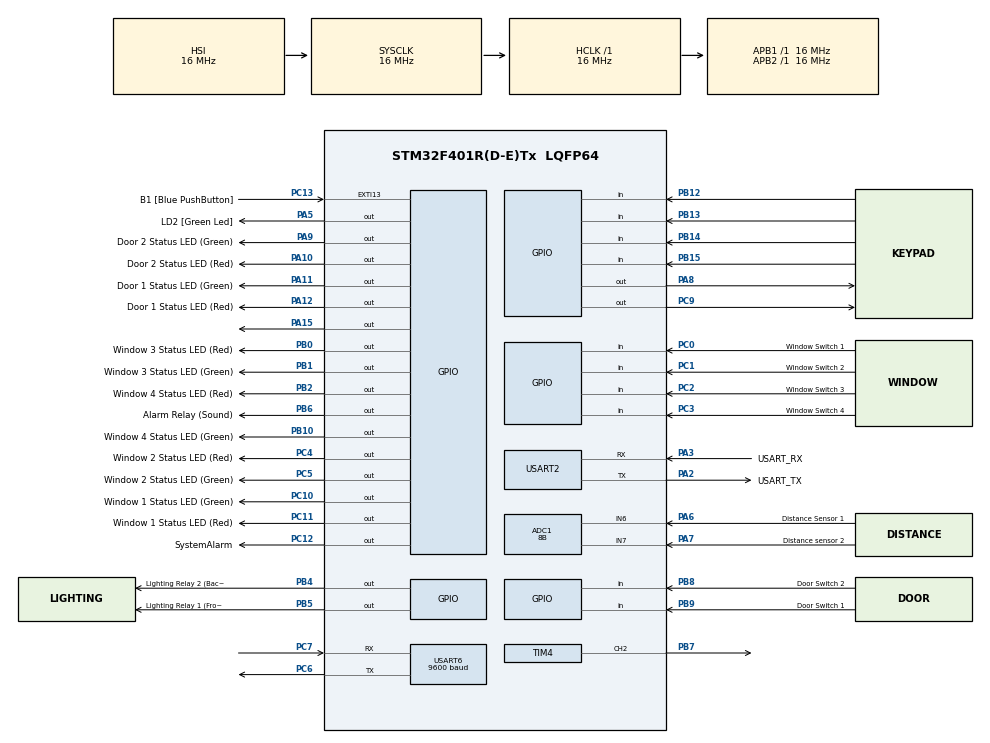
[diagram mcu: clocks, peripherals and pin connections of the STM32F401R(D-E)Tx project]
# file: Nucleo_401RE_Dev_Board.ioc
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ADC1.Channel-4\#ChannelRegularConversion=ADC_CHANNEL_6
ADC1.ClockPrescaler=ADC_CLOCK_SYNC_PCLK_DIV8
ADC1.NbrOfConversionFlag=1
ADC1.Rank-4\#ChannelRegularConversion=1
ADC1.Resolution=ADC_RESOLUTION_8B
ADC1.SamplingTime-4\#ChannelRegularConversion=ADC_SAMPLETIME_28CYCLES
ADC1.master=1
Mcu.Family=STM32F4
Mcu.Name=STM32F401R(D-E)Tx
Mcu.Package=LQFP64
NVIC.PriorityGroup=NVIC_PRIORITYGROUP_0
NVIC.TIM1_UP_TIM10_IRQn=true\:0\:0\:false\:false\:true\:true\:true
NVIC.USART6_IRQn=true\:0\:0\:false\:false\:true\:true\:true
PA10.GPIO_Label=Door 2 Status LED (Red)
PA10.Signal=GPIO_Output
PA11.GPIO_Label=Door 1 Status LED (Green)
PA11.Signal=GPIO_Output
PA12.GPIO_Label=Door 1 Status LED (Red)
PA12.Signal=GPIO_Output
PA13.GPIO_Label=TMS
PA13.Mode=Serial_Wire
PA13.Signal=SYS_JTMS-SWDIO
PA14.GPIO_Label=TCK
PA14.Mode=Serial_Wire
PA14.Signal=SYS_JTCK-SWCLK
PA15.Signal=GPIO_Output
PA2.GPIO_Label=USART_TX
PA2.GPIO_Mode=GPIO_MODE_AF_PP
PA2.GPIO_PuPd=GPIO_NOPULL
PA2.GPIO_Speed=GPIO_SPEED_FREQ_LOW
PA2.Mode=Asynchronous
PA2.Signal=USART2_TX
PA3.GPIO_Label=USART_RX
PA3.GPIO_Mode=GPIO_MODE_AF_PP
PA3.GPIO_PuPd=GPIO_NOPULL
PA3.GPIO_Speed=GPIO_SPEED_FREQ_LOW
PA3.Mode=Asynchronous
PA3.Signal=USART2_RX
PA5.GPIO_Label=LD2 [Green Led]
PA5.Signal=GPIO_Output
PA6.GPIO_Label=Distance Sensor 1
PA6.Signal=ADCx_IN6
PA7.GPIO_Label=Distance sensor 2
PA7.Signal=ADCx_IN7
PA8.GPIO_Label=Keypad Input \u2013 Column 1 
PA8.Signal=GPIO_Output
PA9.GPIO_Label=Door 2 Status LED (Green)
PA9.Signal=GPIO_Output
PB0.GPIO_Label=Window 3 Status LED (Red)
PB0.Signal=GPIO_Output
PB1.GPIO_Label=Window 3 Status LED (Green)
PB1.Signal=GPIO_Output
PB10.GPIO_Label=Window 4 Status LED (Green)
PB10.Signal=GPIO_Output
PB12.GPIO_Label=Keypad Output \u2013 Row D 
PB12.Signal=GPIO_Input
PB13.GPIO_Label=Keypad Output \u2013 Row C 
PB13.Signal=GPIO_Input
PB14.GPIO_Label=Keypad Output \u2013 Row B 
PB14.Signal=GPIO_Input
PB15.GPIO_Label=Keypad Output \u2013 Row A 
PB15.Signal=GPIO_Input
PB2.GPIO_Label=Window 4 Status LED (Red)
PB2.Signal=GPIO_Output
PB3.GPIO_Label=SWO
PB3.Signal=SYS_JTDO-SWO
PB4.GPIO_Label=Lighting Relay 2 (Back)
PB4.Signal=GPIO_Output
PB5.GPIO_Label=Lighting Relay 1 (Front)
PB5.Signal=GPIO_Output
PB6.GPIO_Label=Alarm Relay (Sound)
PB6.Signal=GPIO_Output
PB7.Signal=S_TIM4_CH2
PB8.GPIO_Label=Door Switch 2
PB8.Signal=GPIO_Input
PB9.GPIO_Label=Door Switch 1
PB9.Signal=GPIO_Input
PC0.GPIO_Label=Window Switch 1
PC0.Signal=GPIO_Input
PC1.GPIO_Label=Window Switch 2
PC1.Signal=GPIO_Input
PC10.GPIO_Label=Window 1 Status LED (Green)
PC10.Signal=GPIO_Output
PC11.GPIO_Label=Window 1 Status LED (Red)
PC11.Signal=GPIO_Output
PC12.GPIO_Label=SystemAlarm
PC12.Signal=GPIO_Output
PC13-ANTI_TAMP.GPIO_Label=B1 [Blue PushButton]
PC13-ANTI_TAMP.GPIO_ModeDefaultEXTI=GPIO_MODE_IT_FALLING
PC13-ANTI_TAMP.GPIO_PuPd=GPIO_NOPULL
PC13-ANTI_TAMP.Signal=GPXTI13
PC14-OSC32_IN.Mode=LSE-External-Oscillator
PC14-OSC32_IN.Signal=RCC_OSC32_IN
PC15-OSC32_OUT.Mode=LSE-External-Oscillator
PC15-OSC32_OUT.Signal=RCC_OSC32_OUT
PC2.GPIO_Label=Window Switch 3
PC2.Signal=GPIO_Input
PC3.GPIO_Label=Window Switch 4
PC3.Signal=GPIO_Input
PC4.GPIO_Label=Window 2 Status LED (Red)
PC4.Signal=GPIO_Output
PC5.GPIO_Label=Window 2 Status LED (Green)
PC5.Signal=GPIO_Output
PC6.Mode=Asynchronous
PC6.Signal=USART6_TX
PC7.Mode=Asynchronous
PC7.Signal=USART6_RX
PC9.GPIO_Label=Keypad Input \u2013 Column 2
PC9.Signal=GPIO_Output
PH0\ -\ OSC_IN.Mode=HSE-External-Clock-Source
PH0\ -\ OSC_IN.Signal=RCC_OSC_IN
PH1\ -\ OSC_OUT.Mode=HSE-External-Clock-Source
PH1\ -\ OSC_OUT.Signal=RCC_OSC_OUT
ProjectManager.HeapSize=0x200
ProjectManager.StackSize=0x400
ProjectManager.TargetToolchain=STM32CubeIDE
RCC.48MHZClocksFreq_Value=48000000
RCC.AHBFreq_Value=16000000
RCC.APB1Freq_Value=16000000
RCC.APB1TimFreq_Value=16000000
RCC.APB2Freq_Value=16000000
RCC.APB2TimFreq_Value=16000000
RCC.CortexFreq_Value=16000000
RCC.HCLKFreq_Value=16000000
RCC.HSE_VALUE=8000000
RCC.HSI_VALUE=16000000
RCC.PLLN=336
RCC.PLLP=RCC_PLLP_DIV4
RCC.PLLQ=7
RCC.SYSCLKFreq_VALUE=16000000
RCC.VCOOutputFreq_Value=336000000
SH.ADCx_IN6.0=ADC1_IN6,IN6
SH.ADCx_IN7.0=ADC1_IN7,IN7
SH.S_TIM4_CH2.0=TIM4_CH2,Output Compare2 CH2
TIM10.AutoReloadPreload=TIM_AUTORELOAD_PRELOAD_ENABLE
TIM10.Channel=TIM_CHANNEL_1
TIM10.Period=1000-1
TIM10.Prescaler=16000-1
TIM2.Prescaler=15999
TIM4.AutoReloadPreload=TIM_AUTORELOAD_PRELOAD_ENABLE
TIM4.Channel-Output\ Compare2\ CH2=TIM_CHANNEL_2
TIM4.OCMode_2=TIM_OCMODE_TOGGLE
TIM4.Period=1000-1
TIM4.Prescaler=16-1
USART2.VirtualMode=VM_ASYNC
USART6.BaudRate=9600
USART6.VirtualMode=VM_ASYNC
VP_TIM10_VS_ClockSourceINT.Mode=Enable_Timer
VP_TIM10_VS_no_output1.Mode=Output Compare1 No Output
VP_TIM2_VS_ClockSourceINT.Mode=Internal
board=NUCLEO-F401RE

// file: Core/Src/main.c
/* USER CODE BEGIN Header */
/**
  ******************************************************************************
  * @file           : main.c
  * @brief          : Main program body
  ******************************************************************************
  * @attention
  *
  * <h2><center>&copy; Copyright (c) 2021 STMicroelectronics.
  * All rights reserved.</center></h2>
  *
  * This software component is licensed by ST under BSD 3-Clause license,
  * the "License"; You may not use this file except in compliance with the
  * License. You may obtain a copy of the License at:
  *                        opensource.org/licenses/BSD-3-Clause
  *
  ******************************************************************************
  */
/* USER CODE END Header */
#include "main.h"

/* USER CODE BEGIN Includes */
#include <string.h>
#include <stdlib.h>
#include <stdio.h>
/* USER CODE END Includes */

ADC_HandleTypeDef hadc1;

TIM_HandleTypeDef htim2;
TIM_HandleTypeDef htim4;
TIM_HandleTypeDef htim10;

UART_HandleTypeDef huart2;
UART_HandleTypeDef huart6;

/* USER CODE BEGIN PV */

#define FRONT_DOOR 0
#define BACK_DOOR 1

#define KEYPAD_DEF 0
#define KEYPAD_INC 1
#define KEYPAD_COR 2

// #define SENSOR_WIN 0
// #define SENSOR_DOOR 4

#define STATUS_DISARM 0
#define STATUS_ARM 1
#define STATUS_ALARM 2

#define UART_RECV_BUFFER 30

uint8_t g_uartRecvByte = 0;
uint8_t g_uartBuffer[UART_RECV_BUFFER] = {0};
uint8_t g_commandBuffer[UART_RECV_BUFFER+1] = {0};

uint16_t g_uartBufferSize = 0;
uint16_t g_uartCommands = 0;

//Setup
//Mode: 0 -> Setup mode
uint8_t g_bIsRunMode = 0;

uint16_t g_FrontDoorDist = 2;
uint16_t g_BackDoorDist = 2;
int16_t g_AlarmDelay = 2;

//Status
//Armed/Disarmed Items. Treat as BOOLEANS!
uint8_t SystemArmed = 1;

uint8_t SensorArmed[6] = {1,1,1,1,  1,1};
uint8_t DistanceArmed[2] = {1, 1};

//Door/Window sensors and LEDs:
uint8_t SystemTriggered = 0;

int32_t nCurTime2 = 0;
int32_t SAINextTriggerTime = 0;
int32_t AlarmTriggerTime = 0;
int32_t SystemArmTime = 0;
int32_t LCDPrintTime = 0;

uint8_t SensorStatus[6] = { 0, 0, 0, 0, 0, 0 };

uint16_t KeypadCombination[4] = { 1,2,3,4 };
int16_t EnteredCombination[4] = {0};
int16_t EnteredCombinationSize = 0;

//Time stuff
int32_t g_timeHour = 12;
int32_t g_timeMin = 30;
int32_t g_timeSec = 0;
// int32_t g_elapsedTime = 0;

//Lcd buffer
char g_LcdLine1[21] = {0};
char g_LcdLine2[21] = {0};
char g_LcdLine3[21] = {0};
char g_LcdLine4[21] = {0};

/* USER CODE END PV */

void SystemClock_Config(void);
static void MX_GPIO_Init(void);
static void MX_USART2_UART_Init(void);
static void MX_TIM4_Init(void);
static void MX_ADC1_Init(void);
static void MX_USART6_UART_Init(void);
static void MX_TIM2_Init(void);
static void MX_TIM10_Init(void);

/* USER CODE BEGIN 0 */

// float min (float a, float b) {
// 	return (a<b) ? a : b;
// }
// float max (float a, float b) {
// 	return (a>b) ? a : b;
// }

void ADCSelectChannel(uint32_t channel) {
	ADC_ChannelConfTypeDef sConfig = {0};
	sConfig.Channel = channel;
	sConfig.Rank = 1;
	sConfig.SamplingTime = ADC_SAMPLETIME_28CYCLES;
	if (HAL_ADC_ConfigChannel(&hadc1, &sConfig) != HAL_OK)
	{
		Error_Handler();
	}
}

/* This callback is called by the HAL_UART_IRQHandler when the given number of bytes are received */
void HAL_UART_RxCpltCallback(UART_HandleTypeDef *huart)
{
  if (huart->Instance == USART6)
  {
	  HAL_UART_Receive_IT(&huart6, &g_uartRecvByte, 1);

    if (g_uartRecvByte >= ' ' && g_uartRecvByte <= 'z') {
      int bEndInstruction = (g_uartRecvByte == ';') ? 1 : 0;
      if (bEndInstruction) {
        g_uartCommands++;
      }
      //Last character of buffer is reserved for end of instruction
      if (g_uartBufferSize < UART_RECV_BUFFER-1 || bEndInstruction) {
        g_uartBuffer[g_uartBufferSize] = g_uartRecvByte;
        g_uartBufferSize++;
      }
    }

  }
}

void HAL_TIM_PeriodElapsedCallback(TIM_HandleTypeDef *htim)
{
	  if (htim->Instance == TIM10)
	  {
			g_timeSec++;
      if (g_timeSec >= 60) {
        g_timeMin++;
        g_timeSec -= 60;
      }
      if (g_timeMin >= 60) {
        g_timeHour++;
        g_timeMin -= 60;
      }
      if (g_timeHour >= 24) {
        g_timeHour -= 24;
      }
	  }
}

char GetStatusLet(int i) {
  if (SensorStatus[i] == STATUS_ALARM)
    return 'X';
  else if (SensorStatus[i] == STATUS_ARM)
    return 'A';
  return 'D';
}

void UpdateLEDs() {
	//ALARM: Red    01
	//ARMED: Yellow 11
	//Disarmed: Green 10

	//Window LEDs
  uint8_t s = SensorStatus[0];
	HAL_GPIO_WritePin(GPIOC, GPIO_PIN_11, (s==STATUS_ARM || s==STATUS_ALARM)); //RED
	HAL_GPIO_WritePin(GPIOC, GPIO_PIN_10, (s==STATUS_ARM || s==STATUS_DISARM)); //GREEN

  s = SensorStatus[1];
	HAL_GPIO_WritePin(GPIOC, GPIO_PIN_4, (s==STATUS_ARM || s==STATUS_ALARM)); //RED
	HAL_GPIO_WritePin(GPIOC, GPIO_PIN_5, (s==STATUS_ARM || s==STATUS_DISARM)); //GREEN

  s = SensorStatus[2];
	HAL_GPIO_WritePin(GPIOB, GPIO_PIN_0, (s==STATUS_ARM || s==STATUS_ALARM)); //RED
	HAL_GPIO_WritePin(GPIOB, GPIO_PIN_1, (s==STATUS_ARM || s==STATUS_DISARM)); //GREEN

  s = SensorStatus[3];
	HAL_GPIO_WritePin(GPIOB, GPIO_PIN_2, (s==STATUS_ARM || s==STATUS_ALARM)); //RED
	HAL_GPIO_WritePin(GPIOB, GPIO_PIN_10, (s==STATUS_ARM || s==STATUS_DISARM)); //GREEN

	//Door LEDs
  s = SensorStatus[4];
	HAL_GPIO_WritePin(GPIOA, GPIO_PIN_12, (s==STATUS_ARM || s==STATUS_ALARM)); //RED
	HAL_GPIO_WritePin(GPIOA, GPIO_PIN_11, (s==STATUS_ARM || s==STATUS_DISARM)); //GREEN

  s = SensorStatus[5];
	HAL_GPIO_WritePin(GPIOA, GPIO_PIN_10, (s==STATUS_ARM || s==STATUS_ALARM)); //RED
	HAL_GPIO_WritePin(GPIOA, GPIO_PIN_9, (s==STATUS_ARM || s==STATUS_DISARM)); //GREEN

}

void ClearScreenLCD() {
		uint8_t LCD_Instcode = 0xFE;
		uint8_t LCD_CLS = 1;
		uint8_t LCD_home = 0;

	//Clear the LCD screen at the beginning
	HAL_UART_Transmit(&huart6,&LCD_Instcode,1,1000);
	HAL_UART_Transmit(&huart6,&LCD_home,1,1000);
	HAL_Delay(100);
	HAL_UART_Transmit(&huart6,&LCD_Instcode,1,1000);
	HAL_UART_Transmit(&huart6,&LCD_CLS,1,1000);
	HAL_Delay(100);
}

void WriteLine(const char* strLine, int nLineNum) {
	uint8_t LCD_Instcode = 0xFE;
	uint8_t LCD_rows[4] = { 128, 192, 148, 212 };

	HAL_UART_Transmit(&huart6, &LCD_Instcode, 1, 1000);
	HAL_UART_Transmit(&huart6, &LCD_rows[nLineNum], 1, 1000);
	// HAL_Delay(100);
	HAL_UART_Transmit(&huart6, (uint8_t*)strLine, strlen((char*)strLine), 1000);
	// HAL_Delay(150);
}

void PadSpaces(char line[21]) {
	int nLen = strlen(line);

	for (int i = nLen; i < 20; i++) {
		line[i] = ' ';
	}
	line[20] = 0;
}
void UpdateLCD() {
	char line1[21];
	char line2[21];
	char line3[21];
	char line4[21];

	if (g_bIsRunMode) {
		sprintf(line1, "M:RUN %02ld:%02ld:%02ld", g_timeHour, g_timeMin, g_timeSec);
		sprintf(line2, "W1:%c W2:%c W3:%c W4:%c", GetStatusLet(0), GetStatusLet(1), GetStatusLet(2), GetStatusLet(3));
    sprintf(line3, "FD:%c BD:%c FL:%c BL:%c", GetStatusLet(4), GetStatusLet(5), (DistanceArmed[0] ? 'A' : 'D'), (DistanceArmed[1] ? 'A' : 'D'));

    sprintf(line4, "SysArm:%c  ", (SystemArmed) ? 'A' : 'D');

    // sprintf(line4, "SysArm:%c  %c%c%c%c",
    //   (SystemArmed) ? 'A' : 'D',
    //   (EnteredCombinationSize > 0) ? EnteredCombination[0] : '_',
    //   (EnteredCombinationSize > 1) ? EnteredCombination[1] : '_',
    //   (EnteredCombinationSize > 2) ? EnteredCombination[2] : '_',
    //   (EnteredCombinationSize > 3) ? EnteredCombination[3] : '_'
    // );

    for (int i = 0; i < EnteredCombinationSize; i++) {
      sprintf(line4+strlen(line4), "%d", EnteredCombination[i]);
    }
    for (int i = 0; i < 4-EnteredCombinationSize; i++) {
      sprintf(line4+strlen(line4), "_");
    }

	}
	else {
		sprintf(line1, "M:S %02ld:%02ld:%02ld K:%d%d%d%d", g_timeHour, g_timeMin, g_timeSec, KeypadCombination[0], KeypadCombination[1], KeypadCombination[2], KeypadCombination[3]);
		sprintf(line2, "W1:%c W2:%c W3:%c W4:%c", GetStatusLet(0), GetStatusLet(1), GetStatusLet(2), GetStatusLet(3));
		sprintf(line3, "FD:%c BD:%c FL:%c BL:%c", GetStatusLet(4), GetStatusLet(5), (DistanceArmed[0] ? 'A' : 'D'), (DistanceArmed[1] ? 'A' : 'D'));
		sprintf(line4, "FDD:%d BDD:%d AD:%d", g_FrontDoorDist, g_BackDoorDist, g_AlarmDelay);
	}

	PadSpaces(line1);
	PadSpaces(line2);
	PadSpaces(line3);
	PadSpaces(line4);

	if (strcmp(g_LcdLine1, line1)) {
    if ( nCurTime2 >= LCDPrintTime) {

      LCDPrintTime = nCurTime2 + 100;
      WriteLine(line1, 0);
		  strcpy(g_LcdLine1, line1);
    }

	}
	if (strcmp(g_LcdLine2, line2)) {
    if ( nCurTime2 >= LCDPrintTime) {
      LCDPrintTime = nCurTime2 + 100;
		  WriteLine(line2, 1);
		  strcpy(g_LcdLine2, line2);
    }
	}
	if (strcmp(g_LcdLine3, line3)) {
    if ( nCurTime2 >= LCDPrintTime) {
      LCDPrintTime = nCurTime2 + 100;
		  WriteLine(line3, 2);
		  strcpy(g_LcdLine3, line3);
    }
	}
	if (strcmp(g_LcdLine4, line4)) {
     if ( nCurTime2 >= LCDPrintTime) {
      LCDPrintTime = nCurTime2 + 100;
		  WriteLine(line4, 3);
		  strcpy(g_LcdLine4, line4);
     }
	}
}

uint16_t keypadColState = 0;
uint16_t keypadLastState = 0;

GPIO_TypeDef* const mapKeypadInput[4] = { GPIOB, GPIOB, GPIOB, GPIOB };
uint16_t const mapKeypadInputNum[4] = { GPIO_PIN_15, GPIO_PIN_14, GPIO_PIN_13, GPIO_PIN_12 };
GPIO_TypeDef* const mapKeypadOutput[3] = { GPIOA, GPIOC, GPIOA };
uint16_t const mapKeypadOutputNum[3] = { GPIO_PIN_8, GPIO_PIN_9, GPIO_PIN_15 };

uint16_t const keymap [12]= { 1,2,3,4,5,6,7,8,9,11,0,12 }; //11=*, 12 = #
uint16_t combinationIndex = 0; //What digit in the KeypadCombination is being tested for.
uint16_t combinationCorrect = 0; //How many digits in the current KeypadCombination have been correct

int CheckKeypad() {
  int nRet = KEYPAD_DEF;
  for (int i = 0; i < 4; i++) { //For all rows
    short nBitPos = keypadColState + 3*i;
    if (HAL_GPIO_ReadPin(mapKeypadInput[i], mapKeypadInputNum[i])) //Button i is down
    {
      if(!((keypadLastState >> nBitPos) & 1)){//button at i was just pressed.
        keypadLastState |= (1 << nBitPos);

        if (keymap[nBitPos] >= 10) {
          continue;
        }
        //Basic code to figure out whether the KeypadCombination has been typed in. Invulnerable to De Brujin Sequence.
        if(keymap[nBitPos] == KeypadCombination[combinationIndex]){
          combinationCorrect++;
        }
        else{
          combinationCorrect = 0;
        }

        EnteredCombination[EnteredCombinationSize++] = keymap[nBitPos];
        //Debug code
        // char buf[21];
        // sprintf(buf, "Value: %d", keymap[nBitPos]);
        // WriteLine(buf, 0);

        combinationIndex++;
        if (combinationIndex == 4){
          nRet = (combinationCorrect == 4) ? KEYPAD_COR : KEYPAD_INC;
          combinationIndex = 0;
          combinationCorrect = 0;

          EnteredCombinationSize = 0;
        }
      }
    }
    else {
      keypadLastState &= ~(1 << nBitPos);
    }
  }

  keypadColState = (keypadColState+1) % 3; //Move to next column
  for (int i = 0; i < 3; i++) {
    short nValue = (keypadColState == i);
    HAL_GPIO_WritePin(mapKeypadOutput[i], mapKeypadOutputNum[i], nValue);
  }

  return nRet;
}

void UpdateIndividualState(int16_t sensorNum, GPIO_TypeDef* PinLetter, uint16_t PinNum) {
  // uint8_t* armed = (sensorNum < 4) ? WinArmed : DoorArmed;
  // if (sensorNum >= 4)
  //   sensorNum -= 4;

  if (SensorStatus[sensorNum] == STATUS_ALARM) {
    return; //If it is alarm then just stay at alarm
  }
  if (SensorArmed[sensorNum]) {
    SensorStatus[sensorNum] = (SystemArmed && !HAL_GPIO_ReadPin(PinLetter, PinNum)) ? STATUS_ALARM : STATUS_ARM;
  }
  else {
    SensorStatus[sensorNum] = STATUS_DISARM;
  }
}

void UpdateSensorState() {
  // SensorStatus
  // UpdateIndividualState

  UpdateIndividualState(0, GPIOC, GPIO_PIN_0);
  UpdateIndividualState(1, GPIOC, GPIO_PIN_1);
  UpdateIndividualState(2, GPIOC, GPIO_PIN_2);
  UpdateIndividualState(3, GPIOC, GPIO_PIN_3);

  //Door
  UpdateIndividualState(4, GPIOB, GPIO_PIN_9);
  UpdateIndividualState(5, GPIOB, GPIO_PIN_8);

}

int ProcessCommand(const char* strCommand) {
  //run; -> Switch to run mode
  //set; -> Switch to setup mode

  if (strCommand == 0 || *strCommand == 0)
    return 0;

  // char buf[21];
  char letter;
  int a,b,c,d;

  // WriteLine(strCommand, 1);

  //During run mode, only process the setup command
  if (g_bIsRunMode) {
    if (strcmp(strCommand, "setup") == 0) {
      // if (!SystemTriggered)
      {
        SystemTriggered = 0;
        g_bIsRunMode = 0;
        SystemArmed = 1;

        for (int i = 0; i < 6; i++) {
          SensorStatus[i] = (SensorArmed[i] ? STATUS_ARM : STATUS_DISARM);
        }

        //Turn off the flashing system alarm indicaor if it is on
        SAINextTriggerTime = 0;
        HAL_GPIO_WritePin(GPIOC, GPIO_PIN_12, 0);

        //Turn off the alarm relay if it is on
        AlarmTriggerTime = 0;
        HAL_GPIO_WritePin(GPIOB, GPIO_PIN_6, 0);

        //Turn off lighting relay if it is on
        HAL_GPIO_WritePin(GPIOB, GPIO_PIN_4, 0);
        HAL_GPIO_WritePin(GPIOB, GPIO_PIN_5, 0);

        //Reset LCD screen
        g_LcdLine1[0] = 0;
        g_LcdLine2[0] = 0;
        g_LcdLine3[0] = 0;
        g_LcdLine4[0] = 0;

      }
    }

    return 0;
  }

  //Start Run mode
  if (strcmp(strCommand, "run") == 0) {
    // sprintf(buf, "Run Mode");

    g_bIsRunMode = 1;
    SystemTriggered = 0;
    SystemArmed = 1;

    //Reset LCD screen
    g_LcdLine1[0] = 0;
    g_LcdLine2[0] = 0;
    g_LcdLine3[0] = 0;
    g_LcdLine4[0] = 0;

  }
  //Start setup mode
  // else if (strcmp(strCommand, "setup") == 0) {
  //   // sprintf(buf, "Setup Mode");
  //   if (!SystemTriggered) {
  //     g_bIsRunMode = 0;
  //     SystemArmed = 1;
  //   }
  // }
  //Window
  else if (sscanf(strCommand, "w%d %c", &a, &letter) == 2) {
    // sprintf(buf, "Window: %d %c", a, letter);
    if (a >= 1 && a <= 4) {
      if (letter=='d')
        SensorArmed[a-1] = 0;
      else if (letter=='a')
        SensorArmed[a-1] = 1;

      // SensorArmed[a-1] = (letter=='d') ? 0 : 1;
    }
  }
  //Front Door Distance
  else if (sscanf(strCommand, "fdd %d", &a) == 1) {
    // sprintf(buf, "FDD: %d", a);
    if (a >= 1 && a <= 4)
      g_FrontDoorDist = a;

  }
  //Back Door Distance
  else if (sscanf(strCommand, "bdd %d", &a) == 1) {
    // sprintf(buf, "BDD: %d", a);
    if (a >= 1 && a <= 4)
      g_BackDoorDist = a;
  }
  //Front Door
  else if (sscanf(strCommand, "fd %c", &letter) == 1) {
    // sprintf(buf, "FD: %c", letter);
    if (letter=='d')
      SensorArmed[4] = 0;
    else if (letter=='a')
      SensorArmed[4] = 1;

    // SensorArmed[4] = (letter=='d') ? 0 : 1;
  }
  //Back Door
  else if (sscanf(strCommand, "bd %c", &letter) == 1) {
    // sprintf(buf, "BD: %c", letter);
    if (letter=='d')
      SensorArmed[5] = 0;
    else if (letter=='a')
      SensorArmed[5] = 1;

    // SensorArmed[5] = (letter=='d') ? 0 : 1;
  }
  else if (sscanf(strCommand, "fl %c", &letter) == 1) {
    // sprintf(buf, "BD: %c", letter);
    if (letter=='d')
      DistanceArmed[0] = 0;
    else if (letter=='a')
      DistanceArmed[0] = 1;
  }
  else if (sscanf(strCommand, "bl %c", &letter) == 1) {
    // sprintf(buf, "BD: %c", letter);
    if (letter=='d')
      DistanceArmed[1] = 0;
    else if (letter=='a')
      DistanceArmed[1] = 1;
  }
  //Alarm Delay
  else if (sscanf(strCommand, "ad %d", &a) == 1) {
    if (a >= 0) {
      g_AlarmDelay = a;
    }

    // sprintf(buf, "delay: %d", a);
    // PadSpaces(buf);
    // WriteLine(buf, 0);
  }
  //Time
  else if (sscanf(strCommand, "time %d:%d:%d", &a, &b, &c) == 3) {
    // sprintf(buf, "Time: %d %d %d", a, b, c);
    g_timeHour = a;
    g_timeMin = b;
    g_timeSec = c;
  }
  //Keypad password
  else if (sscanf(strCommand, "key %1d%1d%1d%1d", &a, &b, &c, &d) == 4) {
    // sprintf(buf, "Keypad: %d %d %d %d", a, b, c, d);
    KeypadCombination[0] = a;
    KeypadCombination[1] = b;
    KeypadCombination[2] = c;
    KeypadCombination[3] = d;
  }
  else {
    // sprintf(buf, ": %s", strCommand);
  }

  // PadSpaces(buf);
  // WriteLine(buf, 0);

  return 0;
}

/* USER CODE END 0 */

int main(void)
{
  /* USER CODE BEGIN 1 */

	//Keypad Variables
	int32_t keypadLastTimerCount = 0;

//	uint16_t LCDLastTimerCount = 0;
	int32_t LEDLastTimerCount = 0;
	int32_t ADCLastTimerCount = 0;
	uint8_t ADCChannelNum = 0;	//This chooses which ADC to sample from

  /* USER CODE END 1 */

  /* MCU Configuration--------------------------------------------------------*/

  /* Reset of all peripherals, Initializes the Flash interface and the Systick. */
  HAL_Init();

  /* Configure the system clock */
  SystemClock_Config();

  /* Initialize all configured peripherals */
  MX_GPIO_Init();
  MX_USART2_UART_Init();
  MX_TIM4_Init();
  MX_ADC1_Init();
  MX_USART6_UART_Init();
  MX_TIM2_Init();
  MX_TIM10_Init();
  /* USER CODE BEGIN 2 */
  HAL_UART_Receive_IT(&huart6, &g_uartRecvByte, 1);
  HAL_TIM_Base_Start_IT(&htim10);// start the TIM10 timer and enable the Timer10 interrupt

  //Initialize timer
  uint16_t nLastTime = 0;
  g_uartBufferSize = 0;

  HAL_TIM_Base_Start(&htim2);

  ClearScreenLCD();
  nCurTime2 = __HAL_TIM_GET_COUNTER(&htim2);
  keypadLastTimerCount = nCurTime2;
  LEDLastTimerCount = keypadLastTimerCount + 10;
  ADCLastTimerCount = keypadLastTimerCount + 20;

  /* USER CODE END 2 */

  /* Infinite loop */
  /* USER CODE BEGIN WHILE */
  while (1)
  {
    uint16_t time = __HAL_TIM_GET_COUNTER(&htim2);
    uint16_t deltaTime;
    if (time > nLastTime) {
      deltaTime = (time - nLastTime);
      nCurTime2 += deltaTime;
    }
    else {
      //Overflow occured
      deltaTime = (0xffff - (nLastTime - time) + 1);
      nCurTime2 += deltaTime;
    }
    nLastTime = time;

    // g_elapsedTime += deltaTime;

    /////////////////////////////////
    ///////////         Update Time
    //Doesnt work for some reason
    // for (; g_elapsedTime >= 1000; g_elapsedTime -= 1000) {
    //   //Increment a second
    //   char buff1[21];
    //   char buff2[21];

    //   sprintf (buff1, "%ld sec: %ld", g_elapsedTime, (g_timeSec/60));
    //   sprintf (buff2, "min: %ld hour: %ld", (g_timeMin/60), g_timeMin);
    //   PadSpaces(buff1);
    //   PadSpaces(buff2);

    //   WriteLine(buff1, 0);
    //   WriteLine(buff2, 1);

    //   g_timeSec++;
    //   g_timeMin += (int)(g_timeSec/60);
    //   g_timeHour += (int)(g_timeMin/60);

    //   g_timeSec %= 60;
    //   g_timeMin %= 60;
    //   g_timeHour %= 24;
    // }

    // char buf1[21];
    // sprintf(buf1, "elap: %ld  %ld:%ld:%ld", g_elapsedTime, g_timeHour, g_timeMin, g_timeSec);
    // PadSpaces(buf1);
    // WriteLine(buf1, 0);

    // for (; g_elapsedTime >= 1000; g_elapsedTime -= 1000) {
    //   //Increment a second
    //   g_timeSec++;
    //   if (g_timeSec >= 60) {
    //     g_timeMin++;
    //     g_timeSec -= 60;
    //   }
    //   if (g_timeMin >= 60) {
    //     g_timeHour++;
    //     g_timeMin -= 60;
    //   }
    //   if (g_timeHour >= 24) {
    //     g_timeHour -= 24;
    //   }

    //   // g_timeSec %= 60;
    //   // g_timeMin %= 60;
    //   // g_timeHour %= 24;
    // }

    ////////////////////////////////////////////////////////////////////////////////
    ///////////////              Run Mode
    ////////////////////////////////////////////////////////////////////////////////

    if (g_bIsRunMode) {

      //KEYPAD LOGIC
      if (nCurTime2 >= keypadLastTimerCount) //Only scan keypad every 10ms
      {
        keypadLastTimerCount = nCurTime2 + 5;
        int nRes = CheckKeypad();
        if (nRes == KEYPAD_COR) {

          if (SystemTriggered) {
            SystemTriggered = 0;
            SystemArmed = 0;

            //Turn off the flashing system alarm indicaor if it is on
            SAINextTriggerTime = 0;
            HAL_GPIO_WritePin(GPIOC, GPIO_PIN_12, 0);

            //Turn off the alarm
            AlarmTriggerTime = 0;
            HAL_GPIO_WritePin(GPIOB, GPIO_PIN_6, 0);

            for (int i = 0; i < 6; i++) {
              SensorStatus[i] = (SensorArmed[i] ? STATUS_ARM : STATUS_DISARM);
            }

            // char buf[21];
            // PadSpaces(buf);
            // sprintf(buf, "Disarmed system");
            // WriteLine(buf, 1);

          }
          else {
            if (SystemArmed) {
              SystemArmed = 0;
              SystemArmTime = 0;
            }
            else {
              //Set it to arm mode AFTER a delay
              SystemArmTime = nCurTime2 + (int32_t)(g_AlarmDelay * 1000); //in ms

            }

          }

        }
      }

      ////////////////////////////////////////////////////////////////////////////////////////////////////////////////////////
      //////////////////////////////			Push Button Input

      //Button Logic
      //GREEN on Disarmed and Armed (!Alarm)
      //Red on Armed and ALARM (!Disarmed)
      //Currently, everything is armed all the time, and there is no way to disarm stuff.

      //Update at xHz to avoid lag in Proteus.
      if(nCurTime2 >= LEDLastTimerCount){
        LEDLastTimerCount = nCurTime2 + 50;

        //HAL_GPIO_TogglePin(GPIOC, GPIO_PIN_11);

        //Window/Door is_open
        // WinTriggered[0]  = ( (!(HAL_GPIO_ReadPin(GPIOC, GPIO_PIN_0))) && WinArmed[0] && SystemArmed );
        // WinTriggered[1]  = ( (!(HAL_GPIO_ReadPin(GPIOC, GPIO_PIN_1))) && WinArmed[1] && SystemArmed);
        // WinTriggered[2]  = ( (!(HAL_GPIO_ReadPin(GPIOC, GPIO_PIN_2))) && WinArmed[2] && SystemArmed);
        // WinTriggered[3]  = ( (!(HAL_GPIO_ReadPin(GPIOC, GPIO_PIN_3))) && WinArmed[3] && SystemArmed);
        // DoorTriggered[0] = ( (!(HAL_GPIO_ReadPin(GPIOB, GPIO_PIN_9))) && DoorArmed[0] && SystemArmed);
        // DoorTriggered[1] = ( (!(HAL_GPIO_ReadPin(GPIOB, GPIO_PIN_8))) && DoorArmed[1] && SystemArmed);
        // int8_t bOldAlarm = 0;
        // for (int i = 0; i < 6; i++) {
        //   if (SensorStatus[i] == STATUS_ALARM)
        //     bOldAlarm = 1;
        // }
        UpdateSensorState();
        UpdateLEDs();

        uint8_t bNewAlarm = 0;
        for (int i = 0; i < 6; i++) {
          if (SensorStatus[i] == STATUS_ALARM)
            bNewAlarm = 1;
        }

        if (!SystemTriggered && bNewAlarm) {
          SystemTriggered = 1;
          SAINextTriggerTime = 0;

          AlarmTriggerTime = nCurTime2 + (int32_t)(g_AlarmDelay * 1000); //in ms

          // char buf[21];
          // sprintf(buf, "tt: %d, dt: %d", AlarmTriggerTime, deltaTime);
          // PadSpaces(buf);
          // WriteLine(buf, 2);

        }
      }

      ////////////////////////////////////////////////////////////////////////////////////////////////////////////////////////
	    //////////////////////////////			ADC
      if (nCurTime2 >= ADCLastTimerCount) {
        ADCLastTimerCount = nCurTime2 + 100;
        if (DistanceArmed[ADCChannelNum]) {
          uint32_t nChannel = (ADCChannelNum == FRONT_DOOR) ? ADC_CHANNEL_6 : ADC_CHANNEL_7;

          ADCSelectChannel (nChannel);
          HAL_ADC_Start(&hadc1); //Start conversion
          HAL_ADC_PollForConversion(&hadc1, HAL_MAX_DELAY); //Poll for completion
          uint32_t sampledValue = HAL_ADC_GetValue(&hadc1); //Get sampled value
          HAL_ADC_Stop(&hadc1); //Done conversion

          float fVoltage = (float)sampledValue/255.0 * 3.3; //Max value is 255 which represents 3.3V

          float mapDistToVoltage[6] = { 2.769412, 1.436471, 0.983529, 0.750588 };
          //Print voltage (Debug stuff)
          // char buffer[21];
          // sprintf(buffer, "Count: %ld", sampledValue);
          // char buffer2[21];
          // sprintf(buffer2, "Val: %f", fVoltage);
          // PadSpaces(buffer);
          // PadSpaces(buffer2);
          // if (ADCChannelNum == FRONT_DOOR) {
          //   WriteLine(buffer, 0);
          //   WriteLine(buffer2, 1);
          // }
          // else {
          //   WriteLine(buffer, 2);
          //   WriteLine(buffer2, 3);
          // }

          GPIO_TypeDef* relayLetter = GPIOB;
          uint16_t relayPinNum = (ADCChannelNum == FRONT_DOOR) ? GPIO_PIN_5 : GPIO_PIN_4;
          uint16_t nTargetDist = (ADCChannelNum == FRONT_DOOR) ? g_FrontDoorDist : g_BackDoorDist;
          float fTarget = mapDistToVoltage[nTargetDist-1];

          //Print voltage (Debug stuff)
          // char buffer[21];
          // sprintf(buffer, "Target: %f", fTarget);
          // char buffer2[21];
          // sprintf(buffer2, "Val: %f", fVoltage);
          // PadSpaces(buffer);
          // PadSpaces(buffer2);
          // if (ADCChannelNum == FRONT_DOOR) {
          //   WriteLine(buffer, 0);
          //   WriteLine(buffer2, 1);
          // }
          // else {
          //   WriteLine(buffer, 2);
          //   WriteLine(buffer2, 3);
          // }

          HAL_GPIO_WritePin(relayLetter, relayPinNum, (fVoltage >= fTarget) ? 1 : 0);

          // if (fVoltage > 1) {
          //   HAL_GPIO_WritePin(relayLetter, relayPinNum, 1);
          // }
          // else {
          //   HAL_GPIO_WritePin(relayLetter, relayPinNum, 0);
          // }
        }

        //Switch ADC Channel
        ADCChannelNum = (ADCChannelNum+1) % 2;
      }

      if (SystemTriggered) {
        //Set rate of system alarm indicator
        if (nCurTime2 >= SAINextTriggerTime) {
          SAINextTriggerTime = nCurTime2 + 100;
          HAL_GPIO_TogglePin(GPIOC, GPIO_PIN_12);
        }

        if (nCurTime2 >= AlarmTriggerTime && AlarmTriggerTime > 0) {
          HAL_GPIO_WritePin(GPIOB, GPIO_PIN_6, 1);
          AlarmTriggerTime = 0;
        }
      }

      if (SystemArmTime > 0 && nCurTime2 >= SystemArmTime) {
        SystemArmed = 1;
        SystemArmTime = 0;
      }

    }
    ////////////////////////////////////////////////////////////////////////////////
    ///////////////              Setup Mode
    ////////////////////////////////////////////////////////////////////////////////
    else {
      UpdateSensorState();
      UpdateLEDs();

      //Turn off the flashing system alarm indicaor if it is on
      // HAL_GPIO_WritePin(GPIOC, GPIO_PIN_12, 0);

      //Turn off the alarm relay if it is on
      // HAL_GPIO_WritePin(GPIOB, GPIO_PIN_6, 0);

      //Turn off lighting relay if it is on
      // HAL_GPIO_WritePin(GPIOB, GPIO_PIN_4, 0);
      // HAL_GPIO_WritePin(GPIOB, GPIO_PIN_5, 0);

    }

    ////////////////////////////////////////////////////////////////////////////////
    ///////////////              Process commands from keyboard
    ////////////////////////////////////////////////////////////////////////////////
    if (g_uartCommands > 0) {
      // g_uartBuffer[g_uartBufferSize] = 0;
      // PadSpaces(g_uartBuffer);
      // WriteLine(g_uartBuffer, 2);
      // g_uartBufferSize = 0;
      // g_uartCommands = 0;

      int nTotalBufferSize = g_uartBufferSize;
      g_uartCommands--;

      int i = 0;

      for (; i < nTotalBufferSize; i++) {
        char c = g_uartBuffer[i];
        if (c == ';') {
          g_commandBuffer[i] = 0;
          ProcessCommand((char*)(g_commandBuffer));
          break;
        }
        g_commandBuffer[i] = c;
      }

      i++;  //i points to the ';'.. Go to next character
      int j = 0;
      for (; i < g_uartBufferSize; i++) {
        g_uartBuffer[j++] = g_uartBuffer[i];
      }
      g_uartBufferSize = j;
    }

    //////////////////////////////
	  ////		LCD display
	  //This function will only update the LCD if the output has changed. So its okay to call it without a timer variable
	  UpdateLCD();

	  HAL_Delay(5);

    /* USER CODE END WHILE */

  }
}

void SystemClock_Config(void)
{
  RCC_OscInitTypeDef RCC_OscInitStruct = {0};
  RCC_ClkInitTypeDef RCC_ClkInitStruct = {0};

  /** Configure the main internal regulator output voltage
  */
  __HAL_RCC_PWR_CLK_ENABLE();
  __HAL_PWR_VOLTAGESCALING_CONFIG(PWR_REGULATOR_VOLTAGE_SCALE2);
  /** Initializes the RCC Oscillators according to the specified parameters
  * in the RCC_OscInitTypeDef structure.
  */
  RCC_OscInitStruct.OscillatorType = RCC_OSCILLATORTYPE_HSI;
  RCC_OscInitStruct.HSIState = RCC_HSI_ON;
  RCC_OscInitStruct.HSICalibrationValue = RCC_HSICALIBRATION_DEFAULT;
  RCC_OscInitStruct.PLL.PLLState = RCC_PLL_NONE;
  if (HAL_RCC_OscConfig(&RCC_OscInitStruct) != HAL_OK)
  {
    Error_Handler();
  }
  /** Initializes the CPU, AHB and APB buses clocks
  */
  RCC_ClkInitStruct.ClockType = RCC_CLOCKTYPE_HCLK|RCC_CLOCKTYPE_SYSCLK
                              |RCC_CLOCKTYPE_PCLK1|RCC_CLOCKTYPE_PCLK2;
  RCC_ClkInitStruct.SYSCLKSource = RCC_SYSCLKSOURCE_HSI;
  RCC_ClkInitStruct.AHBCLKDivider = RCC_SYSCLK_DIV1;
  RCC_ClkInitStruct.APB1CLKDivider = RCC_HCLK_DIV1;
  RCC_ClkInitStruct.APB2CLKDivider = RCC_HCLK_DIV1;

  if (HAL_RCC_ClockConfig(&RCC_ClkInitStruct, FLASH_LATENCY_0) != HAL_OK)
  {
    Error_Handler();
  }
}

static void MX_ADC1_Init(void)
{

  ADC_ChannelConfTypeDef sConfig = {0};

  /** Configure the global features of the ADC (Clock, Resolution, Data Alignment and number of conversion)
  */
  hadc1.Instance = ADC1;
  hadc1.Init.ClockPrescaler = ADC_CLOCK_SYNC_PCLK_DIV8;
  hadc1.Init.Resolution = ADC_RESOLUTION_8B;
  hadc1.Init.ScanConvMode = DISABLE;
  hadc1.Init.ContinuousConvMode = DISABLE;
  hadc1.Init.DiscontinuousConvMode = DISABLE;
  hadc1.Init.ExternalTrigConvEdge = ADC_EXTERNALTRIGCONVEDGE_NONE;
  hadc1.Init.ExternalTrigConv = ADC_SOFTWARE_START;
  hadc1.Init.DataAlign = ADC_DATAALIGN_RIGHT;
  hadc1.Init.NbrOfConversion = 1;
  hadc1.Init.DMAContinuousRequests = DISABLE;
  hadc1.Init.EOCSelection = ADC_EOC_SINGLE_CONV;
  if (HAL_ADC_Init(&hadc1) != HAL_OK)
  {
    Error_Handler();
  }
  /** Configure for the selected ADC regular channel its corresponding rank in the sequencer and its sample time.
  */
  sConfig.Channel = ADC_CHANNEL_6;
  sConfig.Rank = 1;
  sConfig.SamplingTime = ADC_SAMPLETIME_28CYCLES;
  if (HAL_ADC_ConfigChannel(&hadc1, &sConfig) != HAL_OK)
  {
    Error_Handler();
  }

}

static void MX_TIM2_Init(void)
{

  TIM_ClockConfigTypeDef sClockSourceConfig = {0};
  TIM_MasterConfigTypeDef sMasterConfig = {0};

  htim2.Instance = TIM2;
  htim2.Init.Prescaler = 15999;
  htim2.Init.CounterMode = TIM_COUNTERMODE_UP;
  htim2.Init.Period = 4294967295;
  htim2.Init.ClockDivision = TIM_CLOCKDIVISION_DIV1;
  htim2.Init.AutoReloadPreload = TIM_AUTORELOAD_PRELOAD_DISABLE;
  if (HAL_TIM_Base_Init(&htim2) != HAL_OK)
  {
    Error_Handler();
  }
  sClockSourceConfig.ClockSource = TIM_CLOCKSOURCE_INTERNAL;
  if (HAL_TIM_ConfigClockSource(&htim2, &sClockSourceConfig) != HAL_OK)
  {
    Error_Handler();
  }
  sMasterConfig.MasterOutputTrigger = TIM_TRGO_RESET;
  sMasterConfig.MasterSlaveMode = TIM_MASTERSLAVEMODE_DISABLE;
  if (HAL_TIMEx_MasterConfigSynchronization(&htim2, &sMasterConfig) != HAL_OK)
  {
    Error_Handler();
  }

}

static void MX_TIM4_Init(void)
{

  TIM_MasterConfigTypeDef sMasterConfig = {0};
  TIM_OC_InitTypeDef sConfigOC = {0};

  htim4.Instance = TIM4;
  htim4.Init.Prescaler = 16-1;
  htim4.Init.CounterMode = TIM_COUNTERMODE_UP;
  htim4.Init.Period = 1000-1;
  htim4.Init.ClockDivision = TIM_CLOCKDIVISION_DIV1;
  htim4.Init.AutoReloadPreload = TIM_AUTORELOAD_PRELOAD_ENABLE;
  if (HAL_TIM_OC_Init(&htim4) != HAL_OK)
  {
    Error_Handler();
  }
  sMasterConfig.MasterOutputTrigger = TIM_TRGO_RESET;
  sMasterConfig.MasterSlaveMode = TIM_MASTERSLAVEMODE_DISABLE;
  if (HAL_TIMEx_MasterConfigSynchronization(&htim4, &sMasterConfig) != HAL_OK)
  {
    Error_Handler();
  }
  sConfigOC.OCMode = TIM_OCMODE_TOGGLE;
  sConfigOC.Pulse = 0;
  sConfigOC.OCPolarity = TIM_OCPOLARITY_HIGH;
  sConfigOC.OCFastMode = TIM_OCFAST_DISABLE;
  if (HAL_TIM_OC_ConfigChannel(&htim4, &sConfigOC, TIM_CHANNEL_2) != HAL_OK)
  {
    Error_Handler();
  }
  HAL_TIM_MspPostInit(&htim4);

}

static void MX_TIM10_Init(void)
{

  TIM_OC_InitTypeDef sConfigOC = {0};

  htim10.Instance = TIM10;
  htim10.Init.Prescaler = 16000-1;
  htim10.Init.CounterMode = TIM_COUNTERMODE_UP;
  htim10.Init.Period = 1000-1;
  htim10.Init.ClockDivision = TIM_CLOCKDIVISION_DIV1;
  htim10.Init.AutoReloadPreload = TIM_AUTORELOAD_PRELOAD_ENABLE;
  if (HAL_TIM_Base_Init(&htim10) != HAL_OK)
  {
    Error_Handler();
  }
  if (HAL_TIM_OC_Init(&htim10) != HAL_OK)
  {
    Error_Handler();
  }
  sConfigOC.OCMode = TIM_OCMODE_TIMING;
  sConfigOC.Pulse = 0;
  sConfigOC.OCPolarity = TIM_OCPOLARITY_HIGH;
  sConfigOC.OCFastMode = TIM_OCFAST_DISABLE;
  if (HAL_TIM_OC_ConfigChannel(&htim10, &sConfigOC, TIM_CHANNEL_1) != HAL_OK)
  {
    Error_Handler();
  }

}

static void MX_USART2_UART_Init(void)
{

  huart2.Instance = USART2;
  huart2.Init.BaudRate = 115200;
  huart2.Init.WordLength = UART_WORDLENGTH_8B;
  huart2.Init.StopBits = UART_STOPBITS_1;
  huart2.Init.Parity = UART_PARITY_NONE;
  huart2.Init.Mode = UART_MODE_TX_RX;
  huart2.Init.HwFlowCtl = UART_HWCONTROL_NONE;
  huart2.Init.OverSampling = UART_OVERSAMPLING_16;
  if (HAL_UART_Init(&huart2) != HAL_OK)
  {
    Error_Handler();
  }

}

static void MX_USART6_UART_Init(void)
{

  huart6.Instance = USART6;
  huart6.Init.BaudRate = 9600;
  huart6.Init.WordLength = UART_WORDLENGTH_8B;
  huart6.Init.StopBits = UART_STOPBITS_1;
  huart6.Init.Parity = UART_PARITY_NONE;
  huart6.Init.Mode = UART_MODE_TX_RX;
  huart6.Init.HwFlowCtl = UART_HWCONTROL_NONE;
  huart6.Init.OverSampling = UART_OVERSAMPLING_16;
  if (HAL_UART_Init(&huart6) != HAL_OK)
  {
    Error_Handler();
  }

}

static void MX_GPIO_Init(void)
{
  GPIO_InitTypeDef GPIO_InitStruct = {0};

  /* GPIO Ports Clock Enable */
  __HAL_RCC_GPIOC_CLK_ENABLE();
  __HAL_RCC_GPIOH_CLK_ENABLE();
  __HAL_RCC_GPIOA_CLK_ENABLE();
  __HAL_RCC_GPIOB_CLK_ENABLE();

  /*Configure GPIO pin Output Level */
  HAL_GPIO_WritePin(GPIOA, LD2_Pin|Keypad_Input___Column_1_Pin|Door_2_Status_LED_Pin|Door_2_Status_LEDA10_Pin
                          |Door_1_Status_LED_Pin|Door_1_Status_LEDA12_Pin|Keypad_Input___Column_3_Pin, GPIO_PIN_RESET);

  /*Configure GPIO pin Output Level */
  HAL_GPIO_WritePin(GPIOC, Window_2_Status_LED_Pin|Window_2_Status_LEDC5_Pin|Keypad_Input___Column_2_Pin|Window_1_Status_LED_Pin
                          |Window_1_Status_LEDC11_Pin|SystemAlarm_Pin, GPIO_PIN_RESET);

  /*Configure GPIO pin Output Level */
  HAL_GPIO_WritePin(GPIOB, Window_3_Status_LED_Pin|Window_3_Status_LEDB1_Pin|Window_4_Status_LED_Pin|Window_4_Status_LEDB10_Pin
                          |Lighting_Relay_2_Pin|Lighting_Relay_1_Pin|Alarm_Relay_Pin, GPIO_PIN_RESET);

  /*Configure GPIO pin : B1_Pin */
  GPIO_InitStruct.Pin = B1_Pin;
  GPIO_InitStruct.Mode = GPIO_MODE_IT_FALLING;
  GPIO_InitStruct.Pull = GPIO_NOPULL;
  HAL_GPIO_Init(B1_GPIO_Port, &GPIO_InitStruct);

  /*Configure GPIO pins : Window_Switch_1_Pin Window_Switch_2_Pin Window_Switch_3_Pin Window_Switch_4_Pin */
  GPIO_InitStruct.Pin = Window_Switch_1_Pin|Window_Switch_2_Pin|Window_Switch_3_Pin|Window_Switch_4_Pin;
  GPIO_InitStruct.Mode = GPIO_MODE_INPUT;
  GPIO_InitStruct.Pull = GPIO_NOPULL;
  HAL_GPIO_Init(GPIOC, &GPIO_InitStruct);

  /*Configure GPIO pins : LD2_Pin Keypad_Input___Column_1_Pin Door_2_Status_LED_Pin Door_2_Status_LEDA10_Pin
                           Door_1_Status_LED_Pin Door_1_Status_LEDA12_Pin Keypad_Input___Column_3_Pin */
  GPIO_InitStruct.Pin = LD2_Pin|Keypad_Input___Column_1_Pin|Door_2_Status_LED_Pin|Door_2_Status_LEDA10_Pin
                          |Door_1_Status_LED_Pin|Door_1_Status_LEDA12_Pin|Keypad_Input___Column_3_Pin;
  GPIO_InitStruct.Mode = GPIO_MODE_OUTPUT_PP;
  GPIO_InitStruct.Pull = GPIO_NOPULL;
  GPIO_InitStruct.Speed = GPIO_SPEED_FREQ_LOW;
  HAL_GPIO_Init(GPIOA, &GPIO_InitStruct);

  /*Configure GPIO pins : Window_2_Status_LED_Pin Window_2_Status_LEDC5_Pin Keypad_Input___Column_2_Pin Window_1_Status_LED_Pin
                           Window_1_Status_LEDC11_Pin SystemAlarm_Pin */
  GPIO_InitStruct.Pin = Window_2_Status_LED_Pin|Window_2_Status_LEDC5_Pin|Keypad_Input___Column_2_Pin|Window_1_Status_LED_Pin
                          |Window_1_Status_LEDC11_Pin|SystemAlarm_Pin;
  GPIO_InitStruct.Mode = GPIO_MODE_OUTPUT_PP;
  GPIO_InitStruct.Pull = GPIO_NOPULL;
  GPIO_InitStruct.Speed = GPIO_SPEED_FREQ_LOW;
  HAL_GPIO_Init(GPIOC, &GPIO_InitStruct);

  /*Configure GPIO pins : Window_3_Status_LED_Pin Window_3_Status_LEDB1_Pin Window_4_Status_LED_Pin Window_4_Status_LEDB10_Pin
                           Lighting_Relay_2_Pin Lighting_Relay_1_Pin Alarm_Relay_Pin */
  GPIO_InitStruct.Pin = Window_3_Status_LED_Pin|Window_3_Status_LEDB1_Pin|Window_4_Status_LED_Pin|Window_4_Status_LEDB10_Pin
                          |Lighting_Relay_2_Pin|Lighting_Relay_1_Pin|Alarm_Relay_Pin;
  GPIO_InitStruct.Mode = GPIO_MODE_OUTPUT_PP;
  GPIO_InitStruct.Pull = GPIO_NOPULL;
  GPIO_InitStruct.Speed = GPIO_SPEED_FREQ_LOW;
  HAL_GPIO_Init(GPIOB, &GPIO_InitStruct);

  /*Configure GPIO pins : Keypad_Output___Row_D_Pin Keypad_Output___Row_C_Pin Keypad_Output___Row_B_Pin Keypad_Output___Row_A_Pin
                           Door_Switch_2_Pin Door_Switch_1_Pin */
  GPIO_InitStruct.Pin = Keypad_Output___Row_D_Pin|Keypad_Output___Row_C_Pin|Keypad_Output___Row_B_Pin|Keypad_Output___Row_A_Pin
                          |Door_Switch_2_Pin|Door_Switch_1_Pin;
  GPIO_InitStruct.Mode = GPIO_MODE_INPUT;
  GPIO_InitStruct.Pull = GPIO_NOPULL;
  HAL_GPIO_Init(GPIOB, &GPIO_InitStruct);

}

void Error_Handler(void)
{
  __disable_irq();
  while (1)
  {
  }
}

/************************ (C) COPYRIGHT STMicroelectronics *****END OF FILE****/
